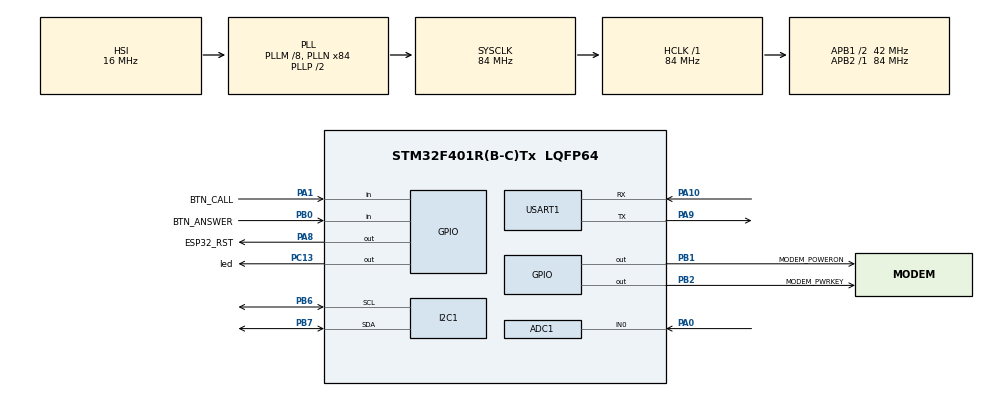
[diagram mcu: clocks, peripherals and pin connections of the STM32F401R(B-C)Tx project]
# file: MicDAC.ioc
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ADC1.Channel-0\#ChannelRegularConversion=ADC_CHANNEL_0
ADC1.DMAContinuousRequests=ENABLE
ADC1.ExternalTrigConv=ADC_EXTERNALTRIGCONV_T2_TRGO
ADC1.NbrOfConversionFlag=1
ADC1.Rank-0\#ChannelRegularConversion=1
ADC1.Resolution=ADC_RESOLUTION_12B
ADC1.SamplingTime-0\#ChannelRegularConversion=ADC_SAMPLETIME_15CYCLES
ADC1.master=1
Dma.ADC1.0.Direction=DMA_PERIPH_TO_MEMORY
Dma.ADC1.0.FIFOMode=DMA_FIFOMODE_DISABLE
Dma.ADC1.0.Instance=DMA2_Stream0
Dma.ADC1.0.MemDataAlignment=DMA_MDATAALIGN_HALFWORD
Dma.ADC1.0.MemInc=DMA_MINC_ENABLE
Dma.ADC1.0.Mode=DMA_CIRCULAR
Dma.ADC1.0.PeriphDataAlignment=DMA_PDATAALIGN_HALFWORD
Dma.ADC1.0.PeriphInc=DMA_PINC_DISABLE
Dma.ADC1.0.Priority=DMA_PRIORITY_LOW
Dma.Request0=ADC1
I2C1.I2C_Mode=I2C_Fast
Mcu.Family=STM32F4
Mcu.Name=STM32F401R(B-C)Tx
Mcu.Package=LQFP64
NVIC.ADC_IRQn=true\:0\:0\:false\:false\:true\:true\:true\:true
NVIC.DMA2_Stream0_IRQn=true\:0\:0\:false\:false\:true\:false\:true\:true
NVIC.PriorityGroup=NVIC_PRIORITYGROUP_4
NVIC.TIM3_IRQn=true\:0\:0\:false\:false\:true\:true\:true\:true
NVIC.USART1_IRQn=true\:0\:0\:false\:false\:true\:true\:true\:true
PA0-WKUP.Signal=ADCx_IN0
PA1.GPIO_Label=BTN_CALL
PA1.GPIO_PuPd=GPIO_PULLUP
PA1.Signal=GPIO_Input
PA10.Mode=Asynchronous
PA10.Signal=USART1_RX
PA13.Mode=Serial_Wire
PA13.Signal=SYS_JTMS-SWDIO
PA14.Mode=Serial_Wire
PA14.Signal=SYS_JTCK-SWCLK
PA8.GPIO_Label=ESP32_RST
PA8.Signal=GPIO_Output
PA9.Mode=Asynchronous
PA9.Signal=USART1_TX
PB0.GPIO_Label=BTN_ANSWER
PB0.GPIO_PuPd=GPIO_PULLUP
PB0.Signal=GPIO_Input
PB1.GPIO_Label=MODEM_POWERON
PB1.PinState=GPIO_PIN_SET
PB1.Signal=GPIO_Output
PB2.GPIO_Label=MODEM_PWRKEY
PB2.PinState=GPIO_PIN_SET
PB2.Signal=GPIO_Output
PB6.Mode=I2C
PB6.Signal=I2C1_SCL
PB7.Mode=I2C
PB7.Signal=I2C1_SDA
PC13-ANTI_TAMP.GPIO_Label=led
PC13-ANTI_TAMP.PinState=GPIO_PIN_SET
PC13-ANTI_TAMP.Signal=GPIO_Output
PH0\ -\ OSC_IN.Mode=HSE-External-Oscillator
PH0\ -\ OSC_IN.Signal=RCC_OSC_IN
PH1\ -\ OSC_OUT.Mode=HSE-External-Oscillator
PH1\ -\ OSC_OUT.Signal=RCC_OSC_OUT
ProjectManager.HeapSize=0x200
ProjectManager.StackSize=0x400
ProjectManager.TargetToolchain=CMake
RCC.48MHZClocksFreq_Value=42000000
RCC.AHBFreq_Value=84000000
RCC.APB1CLKDivider=RCC_HCLK_DIV2
RCC.APB1Freq_Value=42000000
RCC.APB1TimFreq_Value=84000000
RCC.APB2Freq_Value=84000000
RCC.APB2TimFreq_Value=84000000
RCC.CortexFreq_Value=84000000
RCC.HCLKFreq_Value=84000000
RCC.HSE_VALUE=25000000
RCC.HSI_VALUE=16000000
RCC.LSE_VALUE=32768
RCC.PLLM=8
RCC.PLLN=84
RCC.SYSCLKFreq_VALUE=84000000
RCC.SYSCLKSource=RCC_SYSCLKSOURCE_PLLCLK
RCC.VCOOutputFreq_Value=168000000
SH.ADCx_IN0.0=ADC1_IN0,IN0
TIM2.AutoReloadPreload=TIM_AUTORELOAD_PRELOAD_ENABLE
TIM2.Period=124
TIM2.Prescaler=83
TIM2.TIM_MasterOutputTrigger=TIM_TRGO_UPDATE
TIM3.AutoReloadPreload=TIM_AUTORELOAD_PRELOAD_ENABLE
TIM3.Period=124
TIM3.Prescaler=83
USART1.VirtualMode=VM_ASYNC
VP_TIM2_VS_ClockSourceINT.Mode=Internal
VP_TIM3_VS_ClockSourceINT.Mode=Internal
board=custom

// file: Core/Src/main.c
/* USER CODE BEGIN Header */
/**
  ******************************************************************************
  * @file           : main.c
  * @brief          : Main program body
  ******************************************************************************
  * @attention
  *
  * Copyright (c) 2026 STMicroelectronics.
  * All rights reserved.
  *
  * This software is licensed under terms that can be found in the LICENSE file
  * in the root directory of this software component.
  * If no LICENSE file comes with this software, it is provided AS-IS.
  *
  ******************************************************************************
  */
/* USER CODE END Header */
#include "main.h"
#include "adc.h"
#include "dma.h"
#include "i2c.h"
#include "tim.h"
#include "usart.h"
#include "gpio.h"

/* USER CODE BEGIN Includes */
#include <string.h>
#include <stdio.h>
#include <stdbool.h>
#include "crypto.h"          /* Phase 7 — RSA key exchange + AES audio */
#include "device_config.h"   /* IS_DEVICE_A — the single per-board switch */
/* USER CODE END Includes */

/* USER CODE BEGIN PD */
#define BUF_SIZE      1024
#define HALF_SIZE     (BUF_SIZE / 2)
#define MCP4725_ADDR  (0x60 << 1)

/* LTE config — CHANGE these to match your setup.
   PHONE_NUMBER / PEER_PHONE are derived from IS_DEVICE_A (device_config.h)
   so they can never disagree with the RSA key selection in crypto.c. */
#if IS_DEVICE_A
  #define PHONE_NUMBER     "01000000001"      /* this board — device A */
  #define PEER_PHONE       "01000000002"      /* peer        — device B */
#else
  #define PHONE_NUMBER     "01000000002"      /* this board — device B */
  #define PEER_PHONE       "01000000001"      /* peer        — device A */
#endif
#define NGROK_HOST         "5.tcp.eu.ngrok.io"
#define NGROK_PORT         29658
#define APN                "internet.vodafone.net"

#define LTE_RX_BUF_SIZE   2048   /* doubled: SEND OK responses accumulate at 16 Hz */
#define MODEM_BOOT_DELAY_MS 8000
#define BTN_DEBOUNCE_MS    50

/* DIAGNOSTIC: when 1, sends a clean sawtooth tone instead of mic audio.
   Used to isolate whether the noise is from mic capture or from
   the transmission path. Set to 0 for live mic. */
#define SEND_TEST_TONE     0

/* DIAGNOSTIC: when 1, route mic samples STRAIGHT to local DAC (no LTE).
   You hear yourself in your own headphones. Use this to PROVE the mic is
   actually capturing your voice. Set to 0 for normal (peer plays your mic). */
#define LOCAL_LOOPBACK     0

/* USER CODE END PD */

/* USER CODE BEGIN PV */
volatile uint16_t adc_buffer[BUF_SIZE];   /* volatile: DMA fills it in the
                                             background — keep -O2 honest */
volatile uint8_t half_ready = 0;
volatile uint8_t full_ready = 0;
volatile uint16_t dac_play_idx = 0;
/* LTE state */
volatile uint8_t  lte_rx_byte;            /* single byte buffer for UART RX IT */
volatile char     lte_rx_buf[LTE_RX_BUF_SIZE];
volatile uint16_t lte_rx_idx = 0;
volatile uint8_t  lte_registered = 0;

/* Phase 6 — call state machine */
typedef enum {
    ST_BOOTING = 0,
    ST_IDLE,        /* registered, waiting */
    ST_CALLING,     /* outgoing call ringing */
    ST_RINGING,     /* incoming call */
    ST_IN_CALL      /* both ends connected, audio encrypted */
} call_state_t;

volatile call_state_t state = ST_BOOTING;

/* Phase 6.2.5 — incoming audio play buffer.
   When state == ST_IN_CALL, every UART RX byte is written here instead of
   lte_rx_buf. TIM3 ISR drains it into the MCP4725. */
#define PLAY_BUF_SIZE 8192        /* 1 second of audio */
#define PLAY_THRESH   2000        /* ~250 ms — prime depth of the hysteresis jitter buffer */
#define PLAY_MAX_OCC  7000        /* ~875 ms — only drop oldest when truly overflowing */
volatile uint8_t  play_buf[PLAY_BUF_SIZE];
volatile uint16_t play_write_idx = 0;
volatile uint16_t play_read_idx  = 0;

/* Phase 7 — incoming audio arrives ENCRYPTED. The UART ISR stages the raw
   encrypted bytes here; the main loop decrypts them in 16-byte AES blocks
   into play_buf. Kept separate so the ISR stays trivial. */
#define ENC_RX_SIZE 4096
volatile uint8_t  enc_rx_buf[ENC_RX_SIZE];
volatile uint16_t enc_rx_w = 0;
volatile uint16_t enc_rx_r = 0;

/* +IPD URC parser state — extracts only the audio payload from the modem
   stream so AT-response bytes don't pollute the play buffer.
   Handles three SIMCom A7608 formats:
       +IPD,<N>\r\n<data>
       +IPD,<N>:<data>
       +IPD<N>:<data>            (CIPHEAD form)
*/
volatile char     ipd_tail[5]      = {0,0,0,0,0};   /* rolling last-5 bytes */
volatile bool     ipd_after_d      = false;         /* just saw "+IPD", deciding form */
volatile bool     ipd_collect_len  = false;
volatile uint16_t ipd_pending_len  = 0;
volatile uint16_t ipd_remaining    = 0;             /* audio bytes still to consume */
/* USER CODE END PV */

void SystemClock_Config(void);
/* USER CODE BEGIN PFP */
void lte_clear_rx(void);
bool lte_wait_for(const char* expected, uint32_t timeout_ms);
bool lte_send_at(const char* cmd, const char* expected, uint32_t timeout_ms);
void modem_power_on_pulse(void);
void lte_bring_up(void);
bool tcp_send_line(const char* line);
bool tcp_send_audio(const uint8_t* buf, int len);
void decrypt_pump(void);
/* USER CODE END PFP */

int main(void)
{

  /* MCU Configuration--------------------------------------------------------*/

  /* Reset of all peripherals, Initializes the Flash interface and the Systick. */
  HAL_Init();

  /* Configure the system clock */
  SystemClock_Config();

  /* Initialize all configured peripherals */
  MX_GPIO_Init();
  MX_DMA_Init();
  MX_ADC1_Init();
  MX_TIM2_Init();
  MX_TIM3_Init();
  MX_I2C1_Init();
  MX_USART1_UART_Init();
  /* USER CODE BEGIN 2 */
  /* CRITICAL: MCP4725 must be wired on I2C1 (SDA=PB7, SCL=PB6).
     If not connected, TIM3 ISR hangs in HAL_I2C_Master_Transmit and CPU stalls. */

  /* NVIC priority fix — CubeMX sets TIM3 and USART1 both to priority 0.
     At equal priority, neither ISR can preempt the other.
     Problem: TIM3 ISR calls HAL_I2C_Master_Transmit which busy-polls for
     ~75 μs (400 kHz I2C, 2 data bytes). USART1 at 115200 baud delivers a
     byte every 86.8 μs. While TIM3 holds the CPU for 75 μs, USART1 IRQ is
     frozen — only 11 μs of margin before UART overrun drops an audio byte.
     Fix: USART1 = priority 0 (preempts everything),
          TIM3   = priority 1 (preemptable by USART1),
          DMA2   = priority 2 (lowest, only fires every 64 ms anyway).
     NVIC_PRIORITYGROUP_4 is set by CubeMX: 4 bits preemption, 0 sub-priority. */
  HAL_NVIC_SetPriority(USART1_IRQn,      0, 0);
  HAL_NVIC_SetPriority(TIM3_IRQn,        1, 0);
  HAL_NVIC_SetPriority(DMA2_Stream0_IRQn, 2, 0);

  HAL_ADC_Start_DMA(&hadc1, (uint32_t*)adc_buffer, BUF_SIZE);
  HAL_TIM_Base_Start(&htim2);
  HAL_TIM_Base_Start_IT(&htim3);

  /* Phase 7 — init the encryption module before any call can happen. */
  crypto_init();

  /* ESP32 already powered on the modem. Now do AT bring-up + REG to relay. */
  lte_bring_up();
  if (lte_registered) {
    state = ST_IDLE;
    /* Announce our AES key fingerprint so the relay log shows instantly
       whether both boards hold the same key — no call needed. */
    char kfp[28];
    snprintf(kfp, sizeof kfp, "DBG KEYFP=%08lX",
             (unsigned long)crypto_key_fingerprint());
    tcp_send_line(kfp);
  }

  /* USER CODE END 2 */

  /* Infinite loop */
  /* USER CODE BEGIN WHILE */
  while (1)
  {
    static uint32_t last_led_toggle = 0;
    static uint32_t last_btn_time   = 0;
    static bool     btn_call_prev   = false;
    static bool     btn_ans_prev    = false;

    /* === 1. LED state machine — full duplex: solid ON during call. */
    uint32_t period = 0;
    switch (state) {
      case ST_BOOTING:  period = 0;   break;
      case ST_IDLE:     period = 500; break;
      case ST_CALLING:
      case ST_RINGING:  period = 100; break;
      case ST_IN_CALL:  period = 0;   break;   /* solid ON full-duplex */
    }
    if (period > 0 && (HAL_GetTick() - last_led_toggle) >= period) {
      HAL_GPIO_TogglePin(GPIOC, GPIO_PIN_13);
      last_led_toggle = HAL_GetTick();
    } else if (state == ST_IN_CALL) {
      HAL_GPIO_WritePin(GPIOC, GPIO_PIN_13, GPIO_PIN_RESET); /* solid ON */
    } else if (state == ST_BOOTING) {
      HAL_GPIO_WritePin(GPIOC, GPIO_PIN_13, GPIO_PIN_SET);   /* off */
    }

    /* === 2. Buttons (with debounce) === */
    bool now_call = (HAL_GPIO_ReadPin(BTN_CALL_GPIO_Port, BTN_CALL_Pin) == GPIO_PIN_RESET);
    bool now_ans  = (HAL_GPIO_ReadPin(BTN_ANSWER_GPIO_Port, BTN_ANSWER_Pin) == GPIO_PIN_RESET);

    /* During a call, PA1 is the PTT (handled level-based above). Skip the
       edge handler entirely so the LED flash + DBG line don't gap the audio. */
    if (now_call && !btn_call_prev && (HAL_GetTick() - last_btn_time) > BTN_DEBOUNCE_MS
        && state != ST_IN_CALL) {
      last_btn_time = HAL_GetTick();
      /* DEBUG: local LED flash so you can see the press is detected */
      for (int i = 0; i < 3; i++) {
        HAL_GPIO_WritePin(GPIOC, GPIO_PIN_13, GPIO_PIN_RESET);
        HAL_Delay(80);
        HAL_GPIO_WritePin(GPIOC, GPIO_PIN_13, GPIO_PIN_SET);
        HAL_Delay(80);
      }
      /* DEBUG: tell the server the button was pressed + current state */
      {
        char dbg[32];
        snprintf(dbg, sizeof dbg, "DBG CALL_BTN state=%d", (int)state);
        tcp_send_line(dbg);
      }
      if (state == ST_IDLE) {
        char cmd[32];
        snprintf(cmd, sizeof cmd, "CALL %s", PEER_PHONE);
        if (tcp_send_line(cmd)) {
          state = ST_CALLING;
          tcp_send_line("DBG CALL_SENT_OK");
        } else {
          tcp_send_line("DBG CALL_SEND_FAIL");
        }
      } else {
        tcp_send_line("DBG CALL_IGNORED_NOT_IDLE");
      }
    }
    btn_call_prev = now_call;

    if (now_ans && !btn_ans_prev && (HAL_GetTick() - last_btn_time) > BTN_DEBOUNCE_MS) {
      last_btn_time = HAL_GetTick();
      /* DEBUG: local LED flash */
      for (int i = 0; i < 2; i++) {
        HAL_GPIO_WritePin(GPIOC, GPIO_PIN_13, GPIO_PIN_RESET);
        HAL_Delay(80);
        HAL_GPIO_WritePin(GPIOC, GPIO_PIN_13, GPIO_PIN_SET);
        HAL_Delay(80);
      }
      tcp_send_line("DBG ANS_BTN");
      if (state == ST_RINGING) {
        /* Send ANS only. Do NOT send any line after it: once ANS reaches the
           relay it flips to byte-forwarding, so anything sent now lands
           inside the peer's encrypted-audio stream and shifts its AES-CTR
           counter by a block — that is the one-way "tesh tesh". */
        tcp_send_line("ANS");
        /* state moves to ST_IN_CALL when GO arrives */
      } else if (state == ST_IN_CALL) {
        /* Phase 6.2: relay is in byte-forward mode, so "HUP" can't be a line
           command anymore. Close the TCP socket — relay sees EOF and notifies
           the peer with PEER_GONE. We then re-bring-up so we're ready again. */
        lte_send_at("AT+CIPCLOSE=0", "OK", 3000);
        lte_registered = 0;
        state = ST_BOOTING;
        lte_bring_up();
        if (lte_registered) state = ST_IDLE;
      } else if (state == ST_CALLING) {
        /* Outgoing call not yet answered: still in line mode, normal HUP works. */
        if (tcp_send_line("HUP")) {
          state = ST_IDLE;
          tcp_send_line("DBG HUP_SENT_OK");
        } else {
          tcp_send_line("DBG HUP_SEND_FAIL");
        }
      } else {
        tcp_send_line("DBG ANS_IGNORED_NOT_RINGING");
      }
    }
    btn_ans_prev = now_ans;

    /* === 3. Parse incoming relay messages from lte_rx_buf === */
    if (state == ST_IDLE && strstr((const char*)lte_rx_buf, "INC ")) {
      state = ST_RINGING;
      lte_clear_rx();
    }
    if ((state == ST_CALLING || state == ST_RINGING) &&
        strstr((const char*)lte_rx_buf, "GO\n")) {
      /* Phase 7 — both ends install the SAME pre-shared AES key and reset
         the CTR counters, then go straight into the encrypted call. No key
         exchange, so no startup delay and nothing to time out. The relay
         delivers GO to both devices, and network latency guarantees each
         side is capturing before the peer's first audio packet arrives. */
      crypto_start_session(strcmp(PHONE_NUMBER, PEER_PHONE) < 0);
      enc_rx_r = enc_rx_w;                 /* fresh encrypted-audio stream */
      state = ST_IN_CALL;
      lte_clear_rx();
    }
    if (strstr((const char*)lte_rx_buf, "PEER_HUP") ||
        strstr((const char*)lte_rx_buf, "PEER_GONE")) {
      state = ST_IDLE;
      lte_clear_rx();
    }
    if (state == ST_CALLING && strstr((const char*)lte_rx_buf, "ERR ")) {
      state = ST_IDLE;
      lte_clear_rx();
    }

    /* === 3.5. Walkie-talkie: stream audio while PA1 is held during the call.
       Half-duplex — only one side talks at a time, the other listens.
       Sticky PTT: once held, we keep transmitting for 200 ms after release.
       audio_fail_count tracks consecutive tcp_send_audio failures; if the
       modem's TCP buffer is dead we reconnect rather than hanging forever. */
    static uint8_t  test_phase     = 0;
    static int      audio_fail_cnt = 0;
    static uint32_t last_voice_ms  = 0;

    if (state == ST_IN_CALL) {
      /* AUTO-VOX (works as before for transmission) + noise reduction:
           1. VOX threshold blocks ambient/idle noise.
           2. Noise gate kills small ADC noise within a packet.
           3. 2-sample averaging = low-pass filter, removes high-frequency
              ADC noise without affecting voice (voice is below ~3 kHz). */

      const int32_t VOX_THRESH = 300;   /* peak above this = voice activity   */
      /* NOISE GATE (chunk level): if a 64 ms chunk's peak swing is below this
         it is treated as background noise and sent as pure silence, so the
         peer hears clean silence instead of hiss. Raise it if the call is
         still noisy; lower it (e.g. 250) if quiet speech gets clipped. */
      const int32_t GATE_THRESH = 350;

      if (half_ready) {
        half_ready = 0;
        int32_t peak = 0;
        for (int i = 0; i < HALF_SIZE; i++) {
          int32_t s = (int32_t)adc_buffer[i] - 2048;
          if (s < 0) s = -s;
          if (s > peak) peak = s;
        }
        if (peak > VOX_THRESH) last_voice_ms = HAL_GetTick();
        bool tx = (HAL_GetTick() - last_voice_ms) < 600;

        if (tx) {
          uint8_t out[HALF_SIZE];
          /* NOISE GATE: a chunk whose peak is below GATE_THRESH is background
             noise — send the whole chunk as pure silence instead of hiss. */
          bool gate_open = (peak >= GATE_THRESH);
          for (int i = 0; i < HALF_SIZE; i++) {
#if SEND_TEST_TONE
            out[i] = test_phase;
            test_phase += 8;
#else
            if (!gate_open) {
              out[i] = 128;                     /* whole chunk gated to silence */
            } else {
              /* 2-sample average smoothes high-frequency ADC noise.
                 NO per-sample gate: it punched a hole in the voice waveform
                 at every zero-crossing (~84/s) — that was the choppy buzz. */
              uint16_t a = adc_buffer[i];
              uint16_t b = (i == 0) ? a : adc_buffer[i - 1];
              uint16_t avg = (uint16_t)(((uint32_t)a + b) >> 1);
              out[i] = (uint8_t)(avg >> 4);      /* pass voice through clean */
            }
#endif
          }
          crypto_encrypt_tx(out, HALF_SIZE);   /* Phase 7 — AES-CTR encrypt */
          bool ok = tcp_send_audio(out, HALF_SIZE);
          audio_fail_cnt = ok ? 0 : audio_fail_cnt + 1;
        }
      }

      if (full_ready) {
        full_ready = 0;
        int32_t peak = 0;
        for (int i = 0; i < HALF_SIZE; i++) {
          int32_t s = (int32_t)adc_buffer[HALF_SIZE + i] - 2048;
          if (s < 0) s = -s;
          if (s > peak) peak = s;
        }
        if (peak > VOX_THRESH) last_voice_ms = HAL_GetTick();
        bool tx = (HAL_GetTick() - last_voice_ms) < 600;

        if (tx) {
          uint8_t out[HALF_SIZE];
          bool gate_open = (peak >= GATE_THRESH);   /* noise gate (see above) */
          for (int i = 0; i < HALF_SIZE; i++) {
#if SEND_TEST_TONE
            out[i] = test_phase;
            test_phase += 8;
#else
            if (!gate_open) {
              out[i] = 128;                   /* whole chunk gated to silence */
            } else {
              uint16_t a = adc_buffer[HALF_SIZE + i];
              uint16_t b = adc_buffer[HALF_SIZE + i - 1];
              uint16_t avg = (uint16_t)(((uint32_t)a + b) >> 1);
              out[i] = (uint8_t)(avg >> 4);    /* pass voice through clean */
            }
#endif
          }
          crypto_encrypt_tx(out, HALF_SIZE);   /* Phase 7 — AES-CTR encrypt */
          bool ok = tcp_send_audio(out, HALF_SIZE);
          audio_fail_cnt = ok ? 0 : audio_fail_cnt + 1;
        }
      }

      /* Full duplex stresses the modem — be lenient.
         50 consecutive failures (~3 sec) before we give up and reconnect. */
      if (audio_fail_cnt >= 50) {
        audio_fail_cnt = 0;
        lte_registered = 0;
        state = ST_BOOTING;
        lte_bring_up();
        if (lte_registered) state = ST_IDLE;
      }
    }

    /* === 3.6. Phase 7 — decrypt incoming audio into the play buffer.
       decrypt_pump() is ALSO called from inside tcp_send_audio's wait loops,
       so play_buf keeps being fed even while the modem TX is blocking. */
    decrypt_pump();

    /* === 4. Heartbeat — keep TCP socket alive against ngrok/NAT idle timeout.
       Send a PING every 10 sec when idle. The PING also embeds the live raw
       pin levels of PA1 (Call) and PB0 (Answer) so we can see in the relay
       log whether the STM32 is even reading the buttons. === */
    static uint32_t last_ping = 0;
    if (state == ST_IDLE && (HAL_GetTick() - last_ping) >= 10000) {
      last_ping = HAL_GetTick();
      char ping_msg[32];
      int raw_pa1 = (HAL_GPIO_ReadPin(BTN_CALL_GPIO_Port,   BTN_CALL_Pin)   == GPIO_PIN_SET) ? 1 : 0;
      int raw_pb0 = (HAL_GPIO_ReadPin(BTN_ANSWER_GPIO_Port, BTN_ANSWER_Pin) == GPIO_PIN_SET) ? 1 : 0;
      snprintf(ping_msg, sizeof ping_msg, "PING PA1=%d PB0=%d", raw_pa1, raw_pb0);
      if (!tcp_send_line(ping_msg)) {
        /* Socket died — try full reconnect */
        lte_registered = 0;
        state = ST_BOOTING;
        lte_bring_up();
        if (lte_registered) state = ST_IDLE;
      }
    }

    /* Detect modem-reported close (+IPCLOSE URC) — drop to BOOTING and reconnect.
       Previously excluded during ST_IN_CALL to avoid "phantom disconnect", but
       audio bytes are routed to play_buf by the ISR and never reach lte_rx_buf,
       so there is no way for audio content to accidentally contain "+IPCLOSE".
       Re-enabling here is the only way to detect a real socket death mid-call. */
    if (strstr((const char*)lte_rx_buf, "+IPCLOSE")) {
      lte_clear_rx();
      lte_registered = 0;
      state = ST_BOOTING;
      lte_bring_up();
      if (lte_registered) state = ST_IDLE;
    }
    /* USER CODE END WHILE */

  }
}

void SystemClock_Config(void)
{
  RCC_OscInitTypeDef RCC_OscInitStruct = {0};
  RCC_ClkInitTypeDef RCC_ClkInitStruct = {0};

  /** Configure the main internal regulator output voltage
  */
  __HAL_RCC_PWR_CLK_ENABLE();
  __HAL_PWR_VOLTAGESCALING_CONFIG(PWR_REGULATOR_VOLTAGE_SCALE2);

  /** Initializes the RCC Oscillators according to the specified parameters
  * in the RCC_OscInitTypeDef structure.
  */
  RCC_OscInitStruct.OscillatorType = RCC_OSCILLATORTYPE_HSI;
  RCC_OscInitStruct.HSIState = RCC_HSI_ON;
  RCC_OscInitStruct.HSICalibrationValue = RCC_HSICALIBRATION_DEFAULT;
  RCC_OscInitStruct.PLL.PLLState = RCC_PLL_ON;
  RCC_OscInitStruct.PLL.PLLSource = RCC_PLLSOURCE_HSI;
  RCC_OscInitStruct.PLL.PLLM = 8;
  RCC_OscInitStruct.PLL.PLLN = 84;
  RCC_OscInitStruct.PLL.PLLP = RCC_PLLP_DIV2;
  RCC_OscInitStruct.PLL.PLLQ = 4;
  if (HAL_RCC_OscConfig(&RCC_OscInitStruct) != HAL_OK)
  {
    Error_Handler();
  }

  /** Initializes the CPU, AHB and APB buses clocks
  */
  RCC_ClkInitStruct.ClockType = RCC_CLOCKTYPE_HCLK|RCC_CLOCKTYPE_SYSCLK
                              |RCC_CLOCKTYPE_PCLK1|RCC_CLOCKTYPE_PCLK2;
  RCC_ClkInitStruct.SYSCLKSource = RCC_SYSCLKSOURCE_PLLCLK;
  RCC_ClkInitStruct.AHBCLKDivider = RCC_SYSCLK_DIV1;
  RCC_ClkInitStruct.APB1CLKDivider = RCC_HCLK_DIV2;
  RCC_ClkInitStruct.APB2CLKDivider = RCC_HCLK_DIV1;

  if (HAL_RCC_ClockConfig(&RCC_ClkInitStruct, FLASH_LATENCY_2) != HAL_OK)
  {
    Error_Handler();
  }
}

/* USER CODE BEGIN 4 */
void HAL_ADC_ConvHalfCpltCallback(ADC_HandleTypeDef *hadc) {
    if (hadc->Instance == ADC1) half_ready = 1;
}

void HAL_ADC_ConvCpltCallback(ADC_HandleTypeDef *hadc) {
    if (hadc->Instance == ADC1) full_ready = 1;
}

void HAL_TIM_PeriodElapsedCallback(TIM_HandleTypeDef *htim) {
    if (htim->Instance == TIM3) {
        /* Persist between ISR calls: last_v12 for the fade, 'playing' for the
           jitter-buffer hysteresis (0 = priming/underrun, 1 = playing). */
        static uint16_t last_v12 = 2048;
        static uint8_t  playing  = 0;
        uint16_t v12;

#if LOCAL_LOOPBACK
        /* DIAGNOSTIC: play own mic to own DAC (no LTE involved at all). */
        v12 = adc_buffer[dac_play_idx];
        dac_play_idx = (dac_play_idx + 1) % BUF_SIZE;
#else
        if (state == ST_IN_CALL) {
            uint16_t available =
                (play_write_idx + PLAY_BUF_SIZE - play_read_idx) % PLAY_BUF_SIZE;
            /* Jitter buffer WITH HYSTERESIS: build up PLAY_THRESH (~250 ms)
               of audio, THEN play every sample until the buffer is truly
               empty, then re-prime. The whole 250 ms drains as a cushion to
               ride out LTE jitter — unlike "play only while above THRESH",
               which sits AT the threshold and fades the instant it dips. */
            if (!playing && available >= PLAY_THRESH) playing = 1;
            if (playing  && available == 0)           playing = 0;
            if (playing) {
                uint8_t v8 = play_buf[play_read_idx];
                play_read_idx = (play_read_idx + 1) % PLAY_BUF_SIZE;
                v12 = ((uint16_t)v8) << 4;
                last_v12 = v12;
            } else {
                /* priming / underrun: fade gently toward mid-scale (no click) */
                last_v12 = (uint16_t)(((uint32_t)last_v12 * 253 + 2048 * 3) >> 8);
                v12 = last_v12;
            }
        } else {
            /* Outside a call: silent mid-scale, reset fade + buffer state. */
            last_v12 = 2048;
            v12 = 2048;
            playing = 0;
        }
#endif

        uint8_t pkt[2] = {
            (uint8_t)((v12 >> 8) & 0x0F),
            (uint8_t)(v12 & 0xFF)
        };
        HAL_I2C_Master_Transmit(&hi2c1, MCP4725_ADDR, pkt, 2, 1);
    }
}
/* Clear the LTE RX buffer */
void lte_clear_rx(void) {
    __disable_irq();
    lte_rx_idx = 0;
    lte_rx_buf[0] = 0;
    __enable_irq();
}

/* Wait for a substring to appear in the RX buffer, or until timeout */
bool lte_wait_for(const char* expected, uint32_t timeout_ms) {
    uint32_t start = HAL_GetTick();
    while ((HAL_GetTick() - start) < timeout_ms) {
        if (strstr((const char*)lte_rx_buf, expected) != NULL) {
            return true;
        }
        HAL_Delay(10);
    }
    return false;
}

/* Send an AT command + CRLF, then wait for expected response */
bool lte_send_at(const char* cmd, const char* expected, uint32_t timeout_ms) {
    lte_clear_rx();
    HAL_UART_Transmit(&huart1, (uint8_t*)cmd, strlen(cmd), 1000);
    HAL_UART_Transmit(&huart1, (uint8_t*)"\r\n", 2, 1000);
    return lte_wait_for(expected, timeout_ms);
}

/* Send a relay protocol line over TCP via AT+CIPSEND on link 0.
   Appends CRLF. Returns true if the modem accepted the payload. */
bool tcp_send_line(const char* line) {
    char cmd[64];
    int payload_len = (int)strlen(line) + 2;   /* +2 for \r\n */
    snprintf(cmd, sizeof cmd, "AT+CIPSEND=0,%d", payload_len);
    if (!lte_send_at(cmd, ">", 3000)) return false;
    lte_clear_rx();
    HAL_UART_Transmit(&huart1, (uint8_t*)line, strlen(line), 1000);
    HAL_UART_Transmit(&huart1, (uint8_t*)"\r\n", 2, 1000);
    /* Modem replies "+CIPSEND: 0,<n>,<n>" then "OK" on success */
    return lte_wait_for("OK", 5000);
}

/* Send raw binary audio bytes over TCP.
   Returns false if the modem rejected the data (buffer full, socket dead, ERROR).
   Caller counts consecutive failures and reconnects after a threshold. */
/* Phase 7 — drain enc_rx_buf, AES-decrypt in 16-byte blocks, feed play_buf.
   Called from the main loop AND from inside tcp_send_audio's wait loops, so
   incoming audio keeps reaching the speaker even while the (blocking) modem
   TX is busy. Without this the main loop is ~fully occupied sending, play_buf
   starves between sends, and the audio chops. */
void decrypt_pump(void) {
    for (;;) {
        uint16_t avail = (uint16_t)((enc_rx_w + ENC_RX_SIZE - enc_rx_r) % ENC_RX_SIZE);
        if (avail < 16) break;
        uint8_t blk[16];
        for (int i = 0; i < 16; i++) {
            blk[i] = enc_rx_buf[enc_rx_r];
            enc_rx_r = (uint16_t)((enc_rx_r + 1) % ENC_RX_SIZE);
        }
        crypto_decrypt_rx(blk, 16);            /* AES-CTR decrypt */
        for (int i = 0; i < 16; i++) {
            play_buf[play_write_idx] = blk[i];
            play_write_idx = (uint16_t)((play_write_idx + 1) % PLAY_BUF_SIZE);
        }
        uint16_t occ =
            (uint16_t)((play_write_idx + PLAY_BUF_SIZE - play_read_idx) % PLAY_BUF_SIZE);
        if (occ > PLAY_MAX_OCC)                /* cap latency: drop oldest */
            play_read_idx = (uint16_t)((play_read_idx + 1) % PLAY_BUF_SIZE);
    }
}

bool tcp_send_audio(const uint8_t* buf, int len) {
    char cmd[32];
    lte_clear_rx();
    int n = snprintf(cmd, sizeof cmd, "AT+CIPSEND=0,%d\r\n", len);
    HAL_UART_Transmit(&huart1, (uint8_t*)cmd, n, 100);

    /* Wait for '>' prompt. 500 ms gives the modem room even when
       its TCP queue is nearly full; ERROR means queue overflow or dead socket. */
    uint32_t start = HAL_GetTick();
    bool got_prompt = false;
    while ((HAL_GetTick() - start) < 500) {
        if (strchr((const char*)lte_rx_buf, '>') != NULL) { got_prompt = true; break; }
        if (strstr((const char*)lte_rx_buf, "ERROR") != NULL) return false;
        decrypt_pump();          /* keep the speaker fed during the send */
    }
    if (!got_prompt) return false;

    lte_clear_rx();
    HAL_UART_Transmit(&huart1, (uint8_t*)buf, len, 500);

    /* Wait for OK/DATA ACCEPT (CIPQSEND=1 delivers this quickly, ~5-10 ms).
       This acts as back-pressure: if the modem is full it goes silent or sends
       ERROR, which we catch here instead of pipelining into a dead socket.
       60 ms timeout: safe within the 64 ms ADC half-buffer window. */
    start = HAL_GetTick();
    while ((HAL_GetTick() - start) < 60) {
        if (strstr((const char*)lte_rx_buf, "OK") != NULL)    return true;
        if (strstr((const char*)lte_rx_buf, "ERROR") != NULL) return false;
        decrypt_pump();          /* keep the speaker fed during the send */
    }
    /* OK timeout: assume success — persistent timeouts will be caught by
       the consecutive-failure counter in the main loop. */
    return true;
}

/* Pulse PWRKEY low for 1 second to power on the modem */
void modem_power_on_pulse(void) {
    HAL_GPIO_WritePin(MODEM_PWRKEY_GPIO_Port, MODEM_PWRKEY_Pin, GPIO_PIN_RESET);
    HAL_Delay(1000);
    HAL_GPIO_WritePin(MODEM_PWRKEY_GPIO_Port, MODEM_PWRKEY_Pin, GPIO_PIN_SET);
}

/* DEBUG: Blink LED N times to show progress step */
static void debug_blink(uint8_t n) {
    for (uint8_t i = 0; i < n; i++) {
        HAL_GPIO_WritePin(GPIOC, GPIO_PIN_13, GPIO_PIN_RESET);  /* ON */
        HAL_Delay(150);
        HAL_GPIO_WritePin(GPIOC, GPIO_PIN_13, GPIO_PIN_SET);    /* OFF */
        HAL_Delay(150);
    }
    HAL_Delay(500);  /* pause between groups */
}

/* LTE bring-up: AT sequence, TCP open, REG.
   ESP32 already did modem power-on, so we skip that. */
void lte_bring_up(void) {
    char cmd[128];

    /* Step 0: indicate boot started — LED solid for 2 seconds */
    HAL_GPIO_WritePin(GPIOC, GPIO_PIN_13, GPIO_PIN_RESET);
    HAL_Delay(2000);
    HAL_GPIO_WritePin(GPIOC, GPIO_PIN_13, GPIO_PIN_SET);

    /* Start UART RX */
    HAL_UART_Receive_IT(&huart1, (uint8_t*)&lte_rx_byte, 1);

    /* Modem already powered by ESP32 — just give it a moment */
    HAL_Delay(2000);

    if (!lte_send_at("AT", "OK", 2000)) return;
    debug_blink(1);

    if (!lte_send_at("ATE0", "OK", 2000)) return;
    debug_blink(2);

    /* Suppress "RECV FROM:" prefix on incoming TCP data — reduces overhead
       so audio +IPD packets arrive faster during a call. */
    lte_send_at("AT+CIPSRIP=0", "OK", 2000);

    /* Quick-send mode: modem batches TCP ACKs internally instead of waiting
       per packet. Cuts CIPSEND latency and prevents the socket from drowning
       in continuous walkie-talkie traffic. */
    lte_send_at("AT+CIPQSEND=1", "OK", 2000);

    if (!lte_send_at("AT+CPIN?", "READY", 5000)) return;
    debug_blink(3);

    if (!lte_send_at("AT+CSQ", "OK", 2000)) return;
    debug_blink(4);

    snprintf(cmd, sizeof cmd, "AT+CGDCONT=1,\"IP\",\"%s\"", APN);
    if (!lte_send_at(cmd, "OK", 2000)) return;
    debug_blink(5);

    if (!lte_send_at("AT+CGACT=1,1", "OK", 10000)) return;
    debug_blink(6);

    lte_send_at("AT+NETOPEN", "OK", 5000);  /* may already be open */
    debug_blink(7);

    snprintf(cmd, sizeof cmd, "AT+CIPOPEN=0,\"TCP\",\"%s\",%d", NGROK_HOST, NGROK_PORT);
    if (!lte_send_at(cmd, "+CIPOPEN: 0,0", 15000)) return;
    debug_blink(8);

    char reg_payload[32];
    int  reg_len = snprintf(reg_payload, sizeof reg_payload, "REG %s\r\n", PHONE_NUMBER);

    snprintf(cmd, sizeof cmd, "AT+CIPSEND=0,%d", reg_len);
    if (!lte_send_at(cmd, ">", 3000)) return;
    debug_blink(9);

    lte_clear_rx();
    HAL_UART_Transmit(&huart1, (uint8_t*)reg_payload, reg_len, 1000);

    if (lte_wait_for("OK", 5000)) {
        lte_registered = 1;
        debug_blink(10);
    }
}
/* Called every time the LTE modem sends a byte to STM32 */
void HAL_UART_RxCpltCallback(UART_HandleTypeDef *huart) {
    if (huart->Instance != USART1) {
        return;
    }
    char b = (char)lte_rx_byte;

    if (ipd_remaining > 0) {
        /* Inside a +IPD payload.
           If we're in a call, treat as audio -> play_buf.
           Otherwise the payload is control data (INC, GO, PEER_HUP, etc.)
           that the state machine needs to see in lte_rx_buf. */
        if (state == ST_IN_CALL) {
            /* Phase 7: incoming audio is encrypted. Stage the raw bytes;
               the main loop decrypts them in 16-byte AES blocks. */
            enc_rx_buf[enc_rx_w] = (uint8_t)b;
            enc_rx_w = (uint16_t)((enc_rx_w + 1) % ENC_RX_SIZE);
        } else {
            if (lte_rx_idx < LTE_RX_BUF_SIZE - 1) {
                lte_rx_buf[lte_rx_idx++] = b;
                lte_rx_buf[lte_rx_idx]   = 0;
            } else {
                lte_rx_idx = 0;
                lte_rx_buf[0] = 0;
            }
        }
        ipd_remaining--;
    } else if (ipd_after_d) {
        /* Just saw "+IPD" — next byte tells us the form */
        ipd_after_d = false;
        if (b == ',') {
            /* "+IPD," form — start collecting digits */
            ipd_collect_len = true;
            ipd_pending_len = 0;
        } else if (b >= '0' && b <= '9') {
            /* "+IPDN..." form (no comma) — first digit is here */
            ipd_collect_len = true;
            ipd_pending_len = (uint16_t)(b - '0');
        }
        /* anything else: abort, the "+IPD" was a false positive */
    } else if (ipd_collect_len) {
        /* Collecting ASCII digits, terminated by \r\n or ':' */
        if (b >= '0' && b <= '9') {
            ipd_pending_len = ipd_pending_len * 10 + (uint16_t)(b - '0');
        } else if (b == '\n' || b == ':') {
            ipd_remaining     = ipd_pending_len;
            ipd_pending_len   = 0;
            ipd_collect_len   = false;
        } else if (b != '\r') {
            ipd_collect_len = false;
            ipd_pending_len = 0;
        }
    } else {
        /* Normal byte: write to lte_rx_buf for AT command parsing */
        if (lte_rx_idx < LTE_RX_BUF_SIZE - 1) {
            lte_rx_buf[lte_rx_idx++] = b;
            lte_rx_buf[lte_rx_idx]   = 0;
        } else {
            lte_rx_idx = 0;
            lte_rx_buf[0] = 0;
        }
        /* Update rolling 5-byte tail and check for "+IPD" (4 chars only) */
        ipd_tail[0] = ipd_tail[1];
        ipd_tail[1] = ipd_tail[2];
        ipd_tail[2] = ipd_tail[3];
        ipd_tail[3] = ipd_tail[4];
        ipd_tail[4] = b;
        if (ipd_tail[1] == '+' && ipd_tail[2] == 'I' &&
            ipd_tail[3] == 'P' && ipd_tail[4] == 'D') {
            /* Strip "+IPD" from lte_rx_buf */
            if (lte_rx_idx >= 4) {
                lte_rx_idx -= 4;
                lte_rx_buf[lte_rx_idx] = 0;
            }
            ipd_after_d = true;
        }
    }

    HAL_UART_Receive_IT(&huart1, (uint8_t*)&lte_rx_byte, 1);
}
/* USER CODE END 4 */

void Error_Handler(void)
{
  __disable_irq();
  while (1)
  {
  }
}
